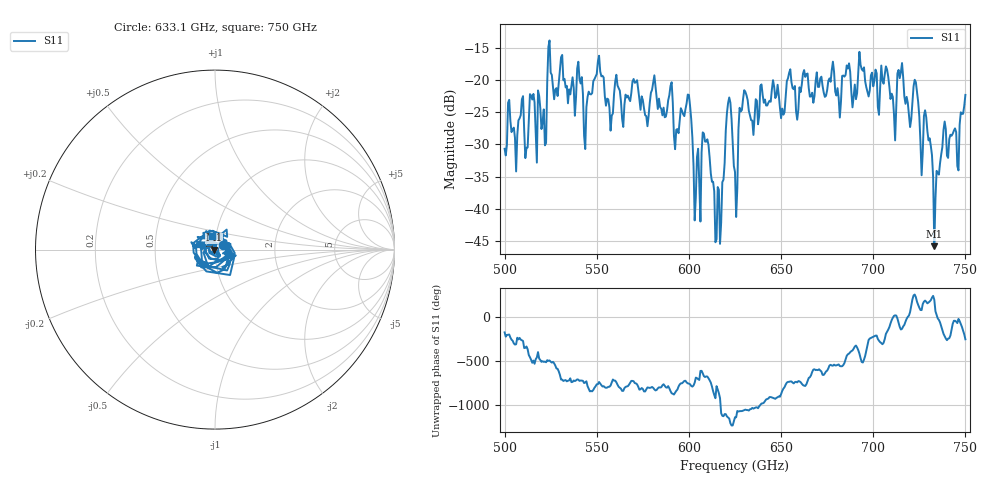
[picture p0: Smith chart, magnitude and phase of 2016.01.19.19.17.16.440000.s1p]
!Created with skrf (http://scikit-rf.org).
# GHz S RI R 50.0
!freq ReS11 ImS11
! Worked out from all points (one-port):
!   401 points, 500 GHz to 750 GHz, reference 50 ohm
!   lowest |S11| = -45.8 dB at 733.1 GHz (marker M1), VSWR 1.01, Z = 49.5 - j0.107 ohm
!   |S11| at or under -10 dB: start of sweep to end of sweep
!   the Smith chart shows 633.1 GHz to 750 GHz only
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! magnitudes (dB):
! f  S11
! 500 GHz  -30.7
! 508.8 GHz  -25.5
! 511.9 GHz  -30.5
! 515 GHz  -23.1
! 521.2 GHz  -24.6
! 524.4 GHz  -13.9
! 531.2 GHz  -16.1
! 543.8 GHz  -30.7
! 550.6 GHz  -17.1
! 562.5 GHz  -21.7
! 590 GHz  -21.0
! 593.8 GHz  -27.6
! 600 GHz  -22.3
! 605 GHz  -30.7
! 608.8 GHz  -29.6
! 615.6 GHz  -36.6
! 621.9 GHz  -22.7
! 625 GHz  -34.3
! 630.6 GHz  -21.9
! 656.2 GHz  -21.3
! 687.5 GHz  -18.8
! 707.5 GHz  -18.4
! 711.2 GHz  -25.3
! 714.4 GHz  -19.7
! 718.8 GHz  -23.6
! 723.1 GHz  -20.4
! 733.1 GHz  -45.8
! 750 GHz  -22.3
